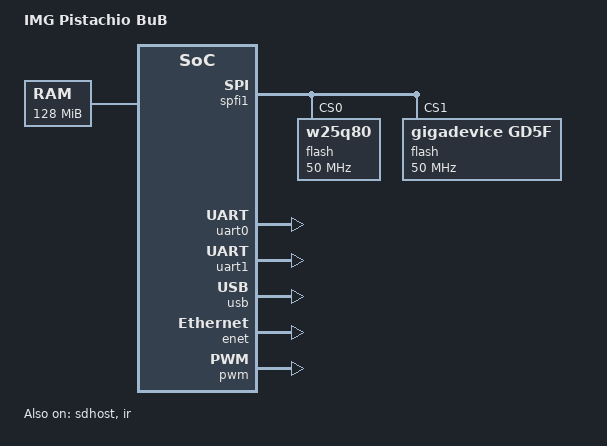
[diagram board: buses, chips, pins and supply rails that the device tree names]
/*
 * Copyright (C) 2015 Imagination Technologies Ltd.
 * Copyright (C) 2015 Google, Inc.
 *
 * This program is free software; you can redistribute it and/or modify
 * it under the terms of the GNU General Public License version 2 as
 * published by the Free Software Foundation.
 */

/dts-v1/;

#include "pistachio.dtsi"

/ {
	model = "IMG Pistachio BuB";
	compatible = "img,pistachio-bub", "img,pistachio";

	chosen {
		bootargs = "console=ttyS1,115200n8 earlycon=uart8250,mmio32,0x18101500,115200 root=/dev/sda3 rootwait ro cros_debug";
	};

	memory {
		device_type = "memory";
		reg =  <0x00000000 0x08000000>;
	};
};

&spfi1 {
	status = "okay";

	pinctrl-0 = <&spim1_pins>, <&spim1_quad_pins>, <&spim1_cs0_pin>,
		    <&spim1_cs1_alt_pin>;
	pinctrl-names = "default";

	flash@0 {
		compatible = "w25q80";
		reg = <0>;
		spi-max-frequency = <50000000>;
	};

	flash@1 {
		compatible = "gigadevice,gd5f";
		reg = <1>;
		spi-max-frequency = <50000000>;
	};
};

&uart0 {
	status = "okay";
};

&uart1 {
	status = "okay";
};

&usb {
	status = "okay";
};

&enet {
	status = "okay";

	mac-address = [0123456789AB];
};

&sdhost {
	status = "okay";

	bus-width = <4>;
};

&ir {
	status = "okay";
};

&pwm {
	status = "okay";

	pinctrl-0 = <&pwmpdm0_pin>, <&pwmpdm1_pin>, <&pwmpdm2_pin>,
		    <&pwmpdm3_pin>;
	pinctrl-names = "default";
};
